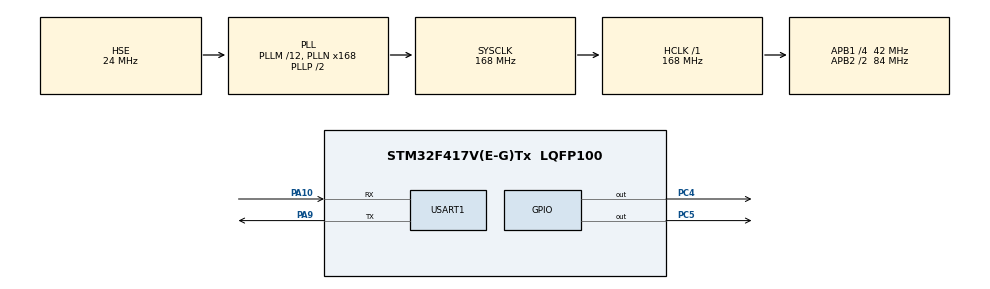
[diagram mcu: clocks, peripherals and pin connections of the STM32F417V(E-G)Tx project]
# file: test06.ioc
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FREERTOS.Queues01=TestQueue,16,uint32_t,0,Dynamic,NULL,NULL
FREERTOS.Tasks01=LEDTask,0,128,StartLEDTask,As weak,NULL,Dynamic,NULL,NULL;Receive,-3,128,ReceiveTask,Default,NULL,Dynamic,NULL,NULL;Send,-3,128,SendTask,Default,NULL,Dynamic,NULL,NULL
FREERTOS.configUSE_NEWLIB_REENTRANT=1
Mcu.Family=STM32F4
Mcu.Name=STM32F417V(E-G)Tx
Mcu.Package=LQFP100
NVIC.PriorityGroup=NVIC_PRIORITYGROUP_4
NVIC.TIM1_UP_TIM10_IRQn=true\:15\:0\:false\:false\:true\:false\:false\:true\:true
NVIC.TimeBase=TIM1_UP_TIM10_IRQn
NVIC.TimeBaseIP=TIM1
NVIC.USART1_IRQn=true\:5\:0\:false\:false\:true\:true\:true\:true\:true
PA10.GPIO_ModeDefaultPP=GPIO_MODE_AF_PP
PA10.GPIO_PuPd=GPIO_PULLUP
PA10.GPIO_Speed=GPIO_SPEED_FREQ_HIGH
PA10.Mode=Asynchronous
PA10.Signal=USART1_RX
PA13.Mode=Trace_Synchro_2bits_JTAG
PA13.Signal=SYS_JTMS-SWDIO
PA14.Mode=Trace_Synchro_2bits_JTAG
PA14.Signal=SYS_JTCK-SWCLK
PA15.Mode=Trace_Synchro_2bits_JTAG
PA15.Signal=SYS_JTDI
PA9.GPIO_ModeDefaultPP=GPIO_MODE_AF_PP
PA9.GPIO_PuPd=GPIO_PULLUP
PA9.GPIO_Speed=GPIO_SPEED_FREQ_HIGH
PA9.Mode=Asynchronous
PA9.Signal=USART1_TX
PB3.Mode=Trace_Synchro_2bits_JTAG
PB3.Signal=SYS_JTDO-SWO
PC14-OSC32_IN.Mode=LSE-External-Oscillator
PC14-OSC32_IN.Signal=RCC_OSC32_IN
PC15-OSC32_OUT.Mode=LSE-External-Oscillator
PC15-OSC32_OUT.Signal=RCC_OSC32_OUT
PC4.GPIO_ModeDefaultOutputPP=GPIO_MODE_OUTPUT_PP
PC4.GPIO_PuPd=GPIO_PULLUP
PC4.GPIO_Speed=GPIO_SPEED_FREQ_HIGH
PC4.PinState=GPIO_PIN_SET
PC4.Signal=GPIO_Output
PC5.GPIO_ModeDefaultOutputPP=GPIO_MODE_OUTPUT_PP
PC5.GPIO_PuPd=GPIO_PULLUP
PC5.GPIO_Speed=GPIO_SPEED_FREQ_HIGH
PC5.PinState=GPIO_PIN_SET
PC5.Signal=GPIO_Output
PE2.Mode=Trace_Synchro_2bits_JTAG
PE2.Signal=SYS_TRACECLK
PE3.Mode=Trace_Synchro_2bits_JTAG
PE3.Signal=SYS_TRACED0
PE4.Mode=Trace_Synchro_2bits_JTAG
PE4.Signal=SYS_TRACED1
PH0-OSC_IN.Mode=HSE-External-Oscillator
PH0-OSC_IN.Signal=RCC_OSC_IN
PH1-OSC_OUT.Mode=HSE-External-Oscillator
PH1-OSC_OUT.Signal=RCC_OSC_OUT
ProjectManager.HeapSize=0x200
ProjectManager.StackSize=0x400
ProjectManager.TargetToolchain=STM32CubeIDE
RCC.48MHZClocksFreq_Value=84000000
RCC.AHBFreq_Value=168000000
RCC.APB1CLKDivider=RCC_HCLK_DIV4
RCC.APB1Freq_Value=42000000
RCC.APB1TimFreq_Value=84000000
RCC.APB2CLKDivider=RCC_HCLK_DIV2
RCC.APB2Freq_Value=84000000
RCC.APB2TimFreq_Value=168000000
RCC.CortexFreq_Value=168000000
RCC.HCLKFreq_Value=168000000
RCC.HSE_VALUE=24000000
RCC.HSI_VALUE=16000000
RCC.PLLM=12
RCC.PLLN=168
RCC.PLLSourceVirtual=RCC_PLLSOURCE_HSE
RCC.SYSCLKFreq_VALUE=168000000
RCC.SYSCLKSource=RCC_SYSCLKSOURCE_PLLCLK
RCC.VCOOutputFreq_Value=336000000
USART1.VirtualMode=VM_ASYNC
VP_FREERTOS_VS_CMSIS_V1.Mode=CMSIS_V1
VP_SYS_VS_tim1.Mode=TIM1
board=custom

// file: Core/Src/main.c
/* USER CODE BEGIN Header */
/**
  ******************************************************************************
  * @file           : main.c
  * @brief          : Main program body
  ******************************************************************************
  * @attention
  *
  * Copyright (c) 2022 STMicroelectronics.
  * All rights reserved.
  *
  * This software is licensed under terms that can be found in the LICENSE file
  * in the root directory of this software component.
  * If no LICENSE file comes with this software, it is provided AS-IS.
  *
  ******************************************************************************
  */
/* USER CODE END Header */
#include "main.h"
#include "cmsis_os.h"
#include "usart.h"
#include "gpio.h"

/* USER CODE BEGIN Includes */
#include "stdio.h"	//引用标准库文件
/* USER CODE END Includes */

void SystemClock_Config(void);
void MX_FREERTOS_Init(void);
/* USER CODE BEGIN PFP */
#ifdef __GNUC__
#define PUTCHAR_PROTOTYPE int __io_putchar(int ch)   //STM32CubeIDE
#else

#define PUTCHAR_PROTOTYPE int fputc(int ch, FILE *f)  //Keil

#endif
PUTCHAR_PROTOTYPE
{
	HAL_UART_Transmit(&huart1, (uint8_t*)&ch, 1, HAL_MAX_DELAY);
	return ch;
}

int _write(int file, char *ptr, int len)
{
	int DataIdx;

	for(DataIdx=0; DataIdx<len; DataIdx++)
	{
		__io_putchar(*ptr++);
	}

	return len;
}
/* USER CODE END PFP */

int main(void)
{

  /* MCU Configuration--------------------------------------------------------*/

  /* Reset of all peripherals, Initializes the Flash interface and the Systick. */
  HAL_Init();

  /* Configure the system clock */
  SystemClock_Config();

  /* Initialize all configured peripherals */
  MX_GPIO_Init();
  MX_USART1_UART_Init();
  /* USER CODE BEGIN 2 */
  HAL_GPIO_WritePin(GPIOC, GPIO_PIN_4, GPIO_PIN_RESET);
  HAL_GPIO_WritePin(GPIOC, GPIO_PIN_5, GPIO_PIN_RESET);//初始灯灭
  /* USER CODE END 2 */

  /* Call init function for freertos objects (in freertos.c) */
  MX_FREERTOS_Init();

  /* Start scheduler */
  osKernelStart();

  /* We should never get here as control is now taken by the scheduler */
  /* Infinite loop */
  while (1)
  {

  }
}

void SystemClock_Config(void)
{
  RCC_OscInitTypeDef RCC_OscInitStruct = {0};
  RCC_ClkInitTypeDef RCC_ClkInitStruct = {0};

  /** Configure the main internal regulator output voltage
  */
  __HAL_RCC_PWR_CLK_ENABLE();
  __HAL_PWR_VOLTAGESCALING_CONFIG(PWR_REGULATOR_VOLTAGE_SCALE1);

  /** Initializes the RCC Oscillators according to the specified parameters
  * in the RCC_OscInitTypeDef structure.
  */
  RCC_OscInitStruct.OscillatorType = RCC_OSCILLATORTYPE_HSE;
  RCC_OscInitStruct.HSEState = RCC_HSE_ON;
  RCC_OscInitStruct.PLL.PLLState = RCC_PLL_ON;
  RCC_OscInitStruct.PLL.PLLSource = RCC_PLLSOURCE_HSE;
  RCC_OscInitStruct.PLL.PLLM = 12;
  RCC_OscInitStruct.PLL.PLLN = 168;
  RCC_OscInitStruct.PLL.PLLP = RCC_PLLP_DIV2;
  RCC_OscInitStruct.PLL.PLLQ = 4;
  if (HAL_RCC_OscConfig(&RCC_OscInitStruct) != HAL_OK)
  {
    Error_Handler();
  }

  /** Initializes the CPU, AHB and APB buses clocks
  */
  RCC_ClkInitStruct.ClockType = RCC_CLOCKTYPE_HCLK|RCC_CLOCKTYPE_SYSCLK
                              |RCC_CLOCKTYPE_PCLK1|RCC_CLOCKTYPE_PCLK2;
  RCC_ClkInitStruct.SYSCLKSource = RCC_SYSCLKSOURCE_PLLCLK;
  RCC_ClkInitStruct.AHBCLKDivider = RCC_SYSCLK_DIV1;
  RCC_ClkInitStruct.APB1CLKDivider = RCC_HCLK_DIV4;
  RCC_ClkInitStruct.APB2CLKDivider = RCC_HCLK_DIV2;

  if (HAL_RCC_ClockConfig(&RCC_ClkInitStruct, FLASH_LATENCY_5) != HAL_OK)
  {
    Error_Handler();
  }
}

void HAL_TIM_PeriodElapsedCallback(TIM_HandleTypeDef *htim)
{
  if (htim->Instance == TIM1) {
    HAL_IncTick();
  }
}

void Error_Handler(void)
{
  __disable_irq();
  while (1)
  {
  }
}

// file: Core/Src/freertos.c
/* USER CODE BEGIN Header */
/**
  ******************************************************************************
  * File Name          : freertos.c
  * Description        : Code for freertos applications
  ******************************************************************************
  * @attention
  *
  * Copyright (c) 2022 STMicroelectronics.
  * All rights reserved.
  *
  * This software is licensed under terms that can be found in the LICENSE file
  * in the root directory of this software component.
  * If no LICENSE file comes with this software, it is provided AS-IS.
  *
  ******************************************************************************
  */
/* USER CODE END Header */

#include "FreeRTOS.h"
#include "task.h"
#include "main.h"
#include "cmsis_os.h"

/* USER CODE BEGIN Includes */
#include <stdio.h>
/* USER CODE END Includes */

osThreadId LEDTaskHandle;
osThreadId ReceiveHandle;
osThreadId SendHandle;
osMessageQId TestQueueHandle;

void StartLEDTask(void const * argument);
void ReceiveTask(void const * argument);
void SendTask(void const * argument);

void MX_FREERTOS_Init(void); /* (MISRA C 2004 rule 8.1) */

/* GetIdleTaskMemory prototype (linked to static allocation support) */
void vApplicationGetIdleTaskMemory( StaticTask_t **ppxIdleTaskTCBBuffer, StackType_t **ppxIdleTaskStackBuffer, uint32_t *pulIdleTaskStackSize );

/* USER CODE BEGIN GET_IDLE_TASK_MEMORY */
static StaticTask_t xIdleTaskTCBBuffer;
static StackType_t xIdleStack[configMINIMAL_STACK_SIZE];

void vApplicationGetIdleTaskMemory( StaticTask_t **ppxIdleTaskTCBBuffer, StackType_t **ppxIdleTaskStackBuffer, uint32_t *pulIdleTaskStackSize )
{
  *ppxIdleTaskTCBBuffer = &xIdleTaskTCBBuffer;
  *ppxIdleTaskStackBuffer = &xIdleStack[0];
  *pulIdleTaskStackSize = configMINIMAL_STACK_SIZE;
  /* place for user code */
}
/* USER CODE END GET_IDLE_TASK_MEMORY */

void MX_FREERTOS_Init(void) {

  /* Create the queue(s) */
  /* definition and creation of TestQueue */
  osMessageQDef(TestQueue, 16, uint32_t);
  TestQueueHandle = osMessageCreate(osMessageQ(TestQueue), NULL);

  /* Create the thread(s) */
  /* definition and creation of LEDTask */
  osThreadDef(LEDTask, StartLEDTask, osPriorityNormal, 0, 128);
  LEDTaskHandle = osThreadCreate(osThread(LEDTask), NULL);

  /* definition and creation of Receive */
  osThreadDef(Receive, ReceiveTask, osPriorityIdle, 0, 128);
  ReceiveHandle = osThreadCreate(osThread(Receive), NULL);

  /* definition and creation of Send */
  osThreadDef(Send, SendTask, osPriorityIdle, 0, 128);
  SendHandle = osThreadCreate(osThread(Send), NULL);

}

__weak void StartLEDTask(void const * argument)
{
  /* USER CODE BEGIN StartLEDTask */
  /* Infinite loop */
  for(;;)
  {
	HAL_GPIO_WritePin(GPIOC, GPIO_PIN_4, GPIO_PIN_SET);
	osDelay(500);
	HAL_GPIO_WritePin(GPIOC, GPIO_PIN_4, GPIO_PIN_RESET);
    osDelay(500);
  }
  /* USER CODE END StartLEDTask */
}

void ReceiveTask(void const * argument)
{
  /* USER CODE BEGIN ReceiveTask */
  osEvent event;
  /* Infinite loop */
  for(;;)
  {
	event = osMessageGet(TestQueueHandle, osWaitForever);
	if(osEventMessage == event.status)
	{
		printf("Receive data: %d\r\n", (int)event.value.v);
	}
	else
	{
		printf("Error: 0x%d\r\n", event.status);
	}
    osDelay(100);
  }
  /* USER CODE END ReceiveTask */
}

void SendTask(void const * argument)
{
  /* USER CODE BEGIN SendTask */
  osEvent xReturn;
  uint32_t send_data1 = 100;
  uint8_t count=0;
  /* Infinite loop */
  for(;;)
  {
	if(count==100)
	{
		count = 0;
		printf("Send data!\r\n");
		xReturn.status = osMessagePut(TestQueueHandle,send_data1,0);
		if(osOK != xReturn.status)
		{
			printf("Send failed!\r\n");
		}
	}
	count++;
    osDelay(100);
  }
  /* USER CODE END SendTask */
}
